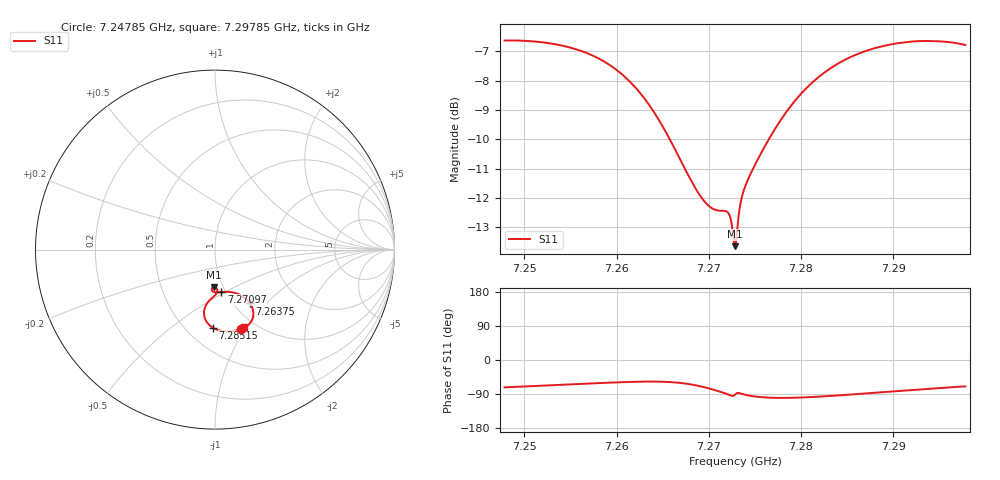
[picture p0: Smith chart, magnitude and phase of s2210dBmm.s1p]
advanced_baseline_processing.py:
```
import numpy as np
import pandas as pd
import matplotlib.pyplot as plt
from resonator_tools import circuit
%matplotlib inline

# =========================================
# settings ここだけ主に編集
# =========================================

# baseline parameters
niter = 100
lam_amp = 1e6
lam_phase = 1e6
p_amp = 0.01 # 0.75
p_phase = 0.01 # 0.5
base_correct = 0.985

# fit type
use_notch_port = False   # True にすると notch_port, False で reflection_port

# ---- mask range の指定方法 ----
# method = "index" なら配列インデックスで指定
# method = "freq" なら周波数で指定
mask_method = "index"

# mask_method = "index" のとき使う
mask_start_idx = 900
mask_end_idx = 1100   # end は含まない

# mask_method = "freq" のとき使う
mask_fmin = 7.2727e9
mask_fmax = 7.2731e9

# ---- fit range の指定方法 ----
fit_method = "index"

# fit_method = "index" のとき使う
fit_start_idx = 700
fit_end_idx = 1300    # end は含まない

# fit_method = "freq" のとき使う
fit_fmin = 7.2715e9
fit_fmax = 7.2742e9


# =========================================
# load data
# =========================================
port_new = circuit.reflection_port()
port_new.add_froms2p(
    str(data_path("s2210dBmm.s1p")), 1, 2, "realimag", fdata_unit=1e9, delimiter=None
)
freq = port_new.f_data
S11 = port_new.z_data_raw

amp = np.abs(S11)
phase = np.unwrap(np.angle(S11))

port_raw = circuit.reflection_port()
port_raw.add_data(freq, S11)


# =========================================
# make mask
# =========================================
if mask_method == "index":
    mask = np.ones_like(freq, dtype=bool)
    mask[mask_start_idx:mask_end_idx] = False

elif mask_method == "freq":
    mask = (freq < mask_fmin) | (freq > mask_fmax)

else:
    raise ValueError("mask_method must be 'index' or 'freq'")


# =========================================
# baseline用データ作成
# =========================================
amp_for_base = amp.copy()
phase_for_base = phase.copy()

amp_for_base[~mask] = np.interp(freq[~mask], freq[mask], amp[mask])
phase_for_base[~mask] = np.interp(freq[~mask], freq[mask], phase[mask])


# =========================================
# baseline fitting
# =========================================
baseline_amp = port_raw.fit_baseline_amp(amp_for_base, lam_amp, p_amp, niter=niter)
baseline_phase = port_raw.fit_baseline_phase(phase_for_base, lam_phase, p_phase, niter=niter)

baseline_amp_corr = baseline_amp * base_correct

S11_corr = (amp / baseline_amp_corr) * np.exp(1j * (phase - baseline_phase))


# =========================================
# fit range
# =========================================
if fit_method == "index":
    fit_slice = slice(fit_start_idx, fit_end_idx)
    freq_fit = freq[fit_slice]
    S11_fit = S11_corr[fit_slice]

elif fit_method == "freq":
    fit_sel = (freq >= fit_fmin) & (freq <= fit_fmax)
    freq_fit = freq[fit_sel]
    S11_fit = S11_corr[fit_sel]

else:
    raise ValueError("fit_method must be 'index' or 'freq'")


# =========================================
# resonator fit
# =========================================
if use_notch_port:
    port_fit = circuit.notch_port()
else:
    port_fit = circuit.reflection_port()

port_fit.add_data(freq_fit, S11_fit)
port_fit.autofit()


# =========================================
# plot helper for shaded ranges
# =========================================
f_mask_min = freq[~mask].min()
f_mask_max = freq[~mask].max()
f_fit_min = freq_fit.min()
f_fit_max = freq_fit.max()


# =========================================
# show baseline plots
# =========================================
fig, axes = plt.subplots(2, 2, figsize=(14, 10))

# raw amplitude + baseline
axes[0, 0].plot(freq, amp, label="raw amplitude")
axes[0, 0].plot(freq, amp_for_base, "--", label="amp used for baseline")
axes[0, 0].plot(freq, baseline_amp, label="baseline amp")
axes[0, 0].plot(freq, baseline_amp_corr, label=f"baseline amp x {base_correct}")
axes[0, 0].axvspan(f_mask_min, f_mask_max, alpha=0.15, color="gray", label="masked region")
axes[0, 0].set_title("Amplitude baseline fit")
axes[0, 0].set_xlabel("Frequency (Hz)")
axes[0, 0].set_ylabel("Amplitude")
axes[0, 0].legend()

# raw phase + baseline
axes[0, 1].plot(freq, phase, label="raw phase (unwrap)")
axes[0, 1].plot(freq, phase_for_base, "--", label="phase used for baseline")
axes[0, 1].plot(freq, baseline_phase, label="baseline phase")
axes[0, 1].axvspan(f_mask_min, f_mask_max, alpha=0.15, color="gray", label="masked region")
axes[0, 1].set_title("Phase baseline fit")
axes[0, 1].set_xlabel("Frequency (Hz)")
axes[0, 1].set_ylabel("Phase (rad)")
axes[0, 1].legend()

# corrected amplitude
axes[1, 0].plot(freq, np.abs(S11_corr), label="corrected amplitude")
axes[1, 0].axvspan(f_mask_min, f_mask_max, alpha=0.15, color="gray", label="masked region")
axes[1, 0].axvspan(f_fit_min, f_fit_max, alpha=0.10, color="orange", label="fit range")
axes[1, 0].set_title("Amplitude after baseline correction")
axes[1, 0].set_xlabel("Frequency (Hz)")
axes[1, 0].set_ylabel("Amplitude")
axes[1, 0].legend()

# corrected phase
axes[1, 1].plot(freq, np.unwrap(np.angle(S11_corr)), label="corrected phase")
axes[1, 1].axvspan(f_mask_min, f_mask_max, alpha=0.15, color="gray", label="masked region")
axes[1, 1].axvspan(f_fit_min, f_fit_max, alpha=0.10, color="orange", label="fit range")
axes[1, 1].set_title("Phase after baseline correction")
axes[1, 1].set_xlabel("Frequency (Hz)")
axes[1, 1].set_ylabel("Phase (rad)")
axes[1, 1].legend()

plt.tight_layout()
plt.show()


# =========================================
# show fit result
# =========================================
port_fit.plotall()
print(port_fit.fitresults)


# =========================================
# print settings summary
# =========================================
print("===== settings summary =====")
print(f"path           = {path}")
print(f"use_notch_port = {use_notch_port}")
print(f"lam_amp        = {lam_amp}")
print(f"lam_phase      = {lam_phase}")
print(f"p_amp          = {p_amp}")
print(f"p_phase        = {p_phase}")
print(f"base_correct   = {base_correct}")

if mask_method == "index":
    print(f"mask_method     = index")
    print(f"mask_start_idx  = {mask_start_idx}")
    print(f"mask_end_idx    = {mask_end_idx}")
else:
    print(f"mask_method     = freq")
    print(f"mask_fmin       = {mask_fmin}")
    print(f"mask_fmax       = {mask_fmax}")

if fit_method == "index":
    print(f"fit_method      = index")
    print(f"fit_start_idx   = {fit_start_idx}")
    print(f"fit_end_idx     = {fit_end_idx}")
else:
    print(f"fit_method      = freq")
    print(f"fit_fmin        = {fit_fmin}")
    print(f"fit_fmax        = {fit_fmax}")
```
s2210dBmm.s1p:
#  HZ  S  MA  R  50.00
! Rohde & Schwarz Vector Network Analyzer
! Rohde-Schwarz,ZNB20-2Port,1311601062101564,3.50
! Created: UTC 4/2/2026, 6:06:57 AM
! freq[Hz]  mag:S22  ang:S22
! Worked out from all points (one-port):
!   2001 points, 7.24785 GHz to 7.29785 GHz, reference 50 ohm
!   lowest |S11| = -13.6 dB at 7.27285 GHz (marker M1), VSWR 1.52, Z = 45.5 - j19.8 ohm
!   |S11| at or under -10 dB: 7.265772 GHz to 7.27652 GHz (10.75 MHz wide, 0.148 % of centre)
!   S11 on the Smith chart (normalised r, x): 7.24785 GHz: 0.84, -0.95; 7.26375 GHz: 1.18, -0.81; 7.27097 GHz: 0.95, -0.48; 7.28515 GHz: 0.67, -0.72; 7.29785 GHz: 0.89, -0.96
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7.24785e9  0.466 -72.2
7.25745e9  0.4389 -61.6
7.26375e9  0.3577 -56.9
7.264525e9  0.3424 -57.1
7.268925e9  0.2553 -68.4
7.270975e9  0.2391 -81.6
7.272125e9  0.2367 -91.2
7.27285e9  0.2078 -91.2
7.27365e9  0.254 -89.9
7.274775e9  0.281 -95.6
7.2812e9  0.3947 -97.7
7.28515e9  0.4349 -91.7
7.2912e9  0.4626 -80.7
7.29785e9  0.4578 -69.7
